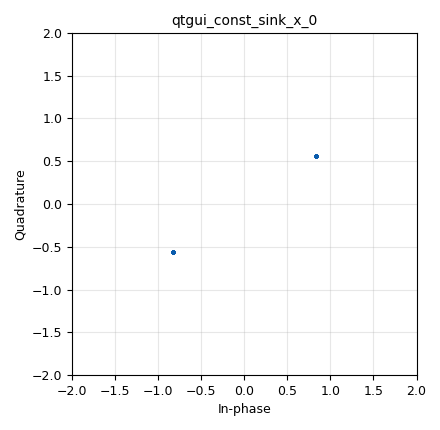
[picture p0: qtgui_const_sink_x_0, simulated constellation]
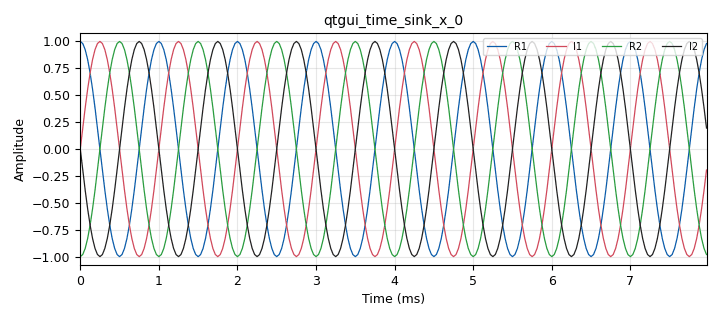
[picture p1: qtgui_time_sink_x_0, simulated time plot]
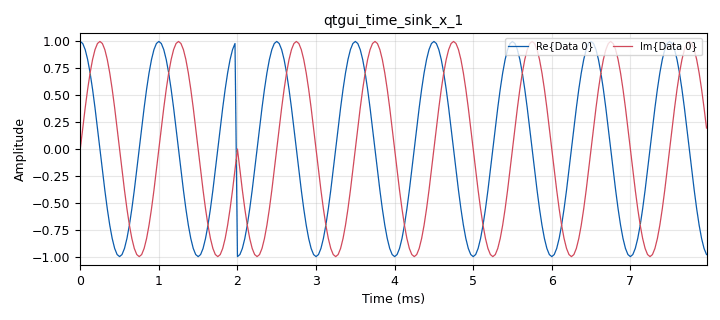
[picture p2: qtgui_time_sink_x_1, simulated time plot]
options:
  parameters:
    author: operateur
    generate_options: qt_gui
    generator_class_name: PythonQtGuiGenerator
    generator_module: gnuradio.grc.workflows.python_qt_gui
    id: bpsk_autre
    output_language: python
    title: Not titled yet
  states: {}

blocks:
- name: center_freq
  id: variable
  parameters:
    value: 100*10**6
  states: {}
- name: samp_rate
  id: variable
  parameters:
    value: '32000'
  states: {}
- name: usrp
  id: variable
  parameters:
    value: '"serial=322F67E"'
  states: {}
- name: analog_sig_source_x_0
  id: analog_sig_source_x
  parameters:
    amp: '1'
    freq: '1000'
    offset: '0'
    phase: '0'
    samp_rate: samp_rate
    type: complex
    waveform: analog.GR_COS_WAVE
  states: {}
- name: analog_sig_source_x_1
  id: analog_sig_source_x
  parameters:
    amp: '1'
    freq: '1000'
    offset: '0'
    phase: '3.1415'
    samp_rate: samp_rate
    type: complex
    waveform: analog.GR_COS_WAVE
  states: {}
- name: blocks_add_const_vxx_0
  id: blocks_add_const_vxx
  parameters:
    const: '-1'
    type: float
  states: {}
- name: blocks_add_xx_0
  id: blocks_add_xx
  parameters:
    type: complex
  states: {}
- name: blocks_float_to_complex_0
  id: blocks_float_to_complex
  parameters: {}
  states: {}
- name: blocks_float_to_complex_1
  id: blocks_float_to_complex
  parameters: {}
  states: {}
- name: blocks_multiply_const_vxx_0
  id: blocks_multiply_const_vxx
  parameters:
    const: '-1'
    mode: vector
    type: float
  states: {}
- name: blocks_multiply_const_vxx_1
  id: blocks_multiply_const_vxx
  parameters:
    const: '1'
    mode: vector
    type: complex
  states: {}
- name: blocks_multiply_const_vxx_2
  id: blocks_multiply_const_vxx
  parameters:
    const: '10'
    mode: vector
    type: complex
  states: {}
- name: blocks_multiply_xx_0
  id: blocks_multiply_xx
  parameters:
    type: complex
  states: {}
- name: blocks_multiply_xx_1
  id: blocks_multiply_xx
  parameters:
    type: complex
  states: {}
- name: blocks_repeat_0
  id: blocks_repeat
  parameters:
    interp: '64'
    type: float
  states: {}
- name: blocks_throttle2_0
  id: blocks_throttle2
  parameters:
    samples_per_second: samp_rate
    type: float
  states: {}
- name: blocks_unpack_k_bits_bb_0
  id: blocks_unpack_k_bits_bb
  parameters:
    k: '8'
  states: {}
- name: blocks_vector_source_x_0
  id: blocks_vector_source_x
  parameters:
    repeat: 'True'
    type: float
    vector: (1,0)
  states: {state: disabled}
- name: blocks_vector_source_x_1
  id: blocks_vector_source_x
  parameters:
    repeat: 'True'
    type: byte
    vector: (79, 35, 95)
  states: {}
- name: digital_chunks_to_symbols_xx_0
  id: digital_chunks_to_symbols_xx
  parameters:
    dimension: '2'
    in_type: byte
    out_type: float
    symbol_table: (0,1)
  states: {}
- name: digital_symbol_sync_xx_0
  id: digital_symbol_sync_xx
  parameters:
    damping: '1.0'
    loop_bw: '0.045'
    max_dev: '1.5'
    osps: '1'
    resamp_type: digital.IR_MMSE_8TAP
    sps: '64'
    ted_gain: '1.0'
    ted_type: digital.TED_MUELLER_AND_MULLER
    type: cc
  states: {}
- name: digital_symbol_sync_xx_1
  id: digital_symbol_sync_xx
  parameters:
    damping: '1.0'
    loop_bw: '0.045'
    max_dev: '1.5'
    osps: '1'
    resamp_type: digital.IR_MMSE_8TAP
    sps: '64'
    ted_gain: '1.0'
    ted_type: digital.TED_MUELLER_AND_MULLER
    type: cc
  states: {}
- name: qtgui_const_sink_x_0
  id: qtgui_const_sink_x
  parameters:
    size: '1024'
    type: complex
  states: {}
- name: qtgui_sink_x_0
  id: qtgui_sink_x
  parameters:
    bw: samp_rate
    fc: '0'
    fftsize: '1024'
    name: '"reception sync"'
    type: complex
  states: {}
- name: qtgui_sink_x_0_0
  id: qtgui_sink_x
  parameters:
    bw: samp_rate
    fc: '0'
    fftsize: '1024'
    name: '"reception x10"'
    type: complex
  states: {}
- name: qtgui_time_sink_x_0
  id: qtgui_time_sink_x
  parameters:
    label1: R1
    label2: I1
    label3: R2
    label4: I2
    nconnections: '2'
    size: '256'
    srate: samp_rate
    type: complex
  states: {}
- name: qtgui_time_sink_x_1
  id: qtgui_time_sink_x
  parameters:
    size: '256'
    srate: samp_rate
    type: complex
  states: {}
- name: root_raised_cosine_filter_0
  id: root_raised_cosine_filter
  parameters:
    alpha: '0.35'
    decim: '1'
    gain: '1'
    ntaps: 11*samp_rate
    samp_rate: samp_rate
    sym_rate: 32000/64
    type: fir_filter_ccf
  states: {state: disabled}
- name: uhd_usrp_sink_0
  id: uhd_usrp_sink
  parameters:
    ant0: '"TX/RX"'
    bw0: 30*10**3
    center_freq0: center_freq
    dev_addr: usrp
    gain0: '0'
    samp_rate: samp_rate
    sync: sync
    type: fc32
  states: {}
- name: uhd_usrp_source_0
  id: uhd_usrp_source
  parameters:
    ant0: '"RX2"'
    bw0: '30000'
    center_freq0: center_freq
    dev_addr: usrp
    rx_agc0: Enabled
    samp_rate: samp_rate
    sync: sync
    type: fc32
  states: {}

connections:
- [analog_sig_source_x_0, '0', blocks_multiply_xx_0, '0']
- [analog_sig_source_x_0, '0', qtgui_time_sink_x_0, '0']
- [analog_sig_source_x_1, '0', blocks_multiply_xx_1, '1']
- [analog_sig_source_x_1, '0', qtgui_time_sink_x_0, '1']
- [blocks_add_const_vxx_0, '0', blocks_multiply_const_vxx_0, '0']
- [blocks_add_xx_0, '0', digital_symbol_sync_xx_0, '0']
- [blocks_add_xx_0, '0', qtgui_time_sink_x_1, '0']
- [blocks_add_xx_0, '0', uhd_usrp_sink_0, '0']
- [blocks_float_to_complex_0, '0', blocks_multiply_const_vxx_1, '0']
- [blocks_float_to_complex_1, '0', blocks_multiply_xx_1, '0']
- [blocks_multiply_const_vxx_0, '0', blocks_float_to_complex_1, '0']
- [blocks_multiply_const_vxx_1, '0', blocks_multiply_xx_0, '1']
- [blocks_multiply_const_vxx_2, '0', digital_symbol_sync_xx_1, '0']
- [blocks_multiply_const_vxx_2, '0', qtgui_sink_x_0_0, '0']
- [blocks_multiply_const_vxx_2, '0', root_raised_cosine_filter_0, '0']
- [blocks_multiply_xx_0, '0', blocks_add_xx_0, '0']
- [blocks_multiply_xx_1, '0', blocks_add_xx_0, '1']
- [blocks_repeat_0, '0', blocks_add_const_vxx_0, '0']
- [blocks_repeat_0, '0', blocks_float_to_complex_0, '0']
- [blocks_throttle2_0, '0', blocks_repeat_0, '0']
- [blocks_unpack_k_bits_bb_0, '0', digital_chunks_to_symbols_xx_0, '0']
- [blocks_vector_source_x_0, '0', blocks_throttle2_0, '0']
- [blocks_vector_source_x_1, '0', blocks_unpack_k_bits_bb_0, '0']
- [digital_chunks_to_symbols_xx_0, '0', blocks_throttle2_0, '0']
- [digital_symbol_sync_xx_0, '0', qtgui_const_sink_x_0, '0']
- [digital_symbol_sync_xx_1, '0', qtgui_sink_x_0, '0']
- [root_raised_cosine_filter_0, '0', qtgui_sink_x_0, '0']
- [uhd_usrp_source_0, '0', blocks_multiply_const_vxx_2, '0']

metadata:
  file_format: 1
  grc_version: v3.11.0.0git-1029-g3c48f5e2
